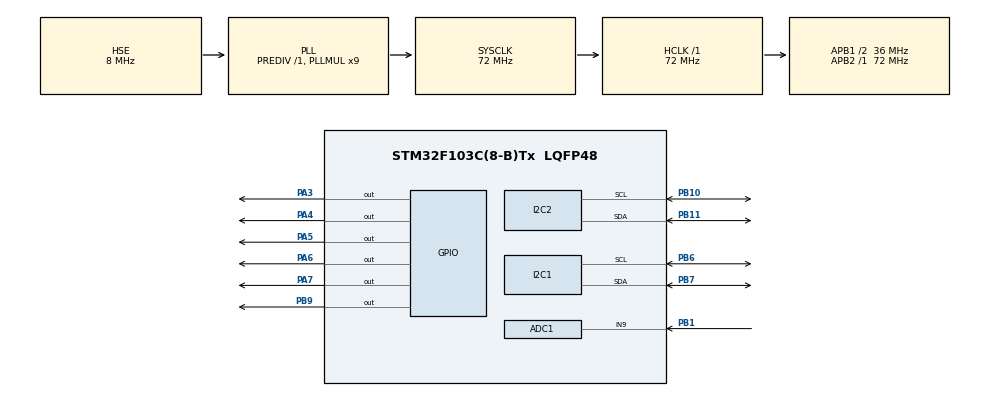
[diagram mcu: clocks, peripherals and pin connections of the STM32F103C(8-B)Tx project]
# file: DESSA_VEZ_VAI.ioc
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ADC1.Channel-0\#ChannelRegularConversion=ADC_CHANNEL_9
ADC1.ContinuousConvMode=ENABLE
ADC1.NbrOfConversionFlag=1
ADC1.Rank-0\#ChannelRegularConversion=1
ADC1.SamplingTime-0\#ChannelRegularConversion=ADC_SAMPLETIME_1CYCLE_5
ADC1.master=1
ADC2.Channel-0\#ChannelRegularConversion=ADC_CHANNEL_9
ADC2.ContinuousConvMode=ENABLE
ADC2.NbrOfConversionFlag=1
ADC2.Rank-0\#ChannelRegularConversion=1
ADC2.SamplingTime-0\#ChannelRegularConversion=ADC_SAMPLETIME_1CYCLE_5
I2C2.I2C_Mode=I2C_Standard
Mcu.Family=STM32F1
Mcu.Name=STM32F103C(8-B)Tx
Mcu.Package=LQFP48
NVIC.PriorityGroup=NVIC_PRIORITYGROUP_4
PA3.Signal=GPIO_Output
PA4.Signal=GPIO_Output
PA5.Signal=GPIO_Output
PA6.Signal=GPIO_Output
PA7.Signal=GPIO_Output
PB1.Signal=ADCx_IN9
PB10.Mode=I2C
PB10.Signal=I2C2_SCL
PB11.Mode=I2C
PB11.Signal=I2C2_SDA
PB6.Mode=I2C
PB6.Signal=I2C1_SCL
PB7.Mode=I2C
PB7.Signal=I2C1_SDA
PB9.Signal=GPIO_Output
PD0-OSC_IN.Mode=HSE-External-Oscillator
PD0-OSC_IN.Signal=RCC_OSC_IN
PD1-OSC_OUT.Mode=HSE-External-Oscillator
PD1-OSC_OUT.Signal=RCC_OSC_OUT
ProjectManager.HeapSize=0x200
ProjectManager.StackSize=0x400
ProjectManager.TargetToolchain=STM32CubeIDE
RCC.ADCPresc=RCC_ADCPCLK2_DIV6
RCC.AHBFreq_Value=72000000
RCC.APB1CLKDivider=RCC_HCLK_DIV2
RCC.APB1Freq_Value=36000000
RCC.APB1TimFreq_Value=72000000
RCC.APB2Freq_Value=72000000
RCC.APB2TimFreq_Value=72000000
RCC.HCLKFreq_Value=72000000
RCC.PLLMUL=RCC_PLL_MUL9
RCC.PLLSourceVirtual=RCC_PLLSOURCE_HSE
RCC.SYSCLKFreq_VALUE=72000000
RCC.SYSCLKSource=RCC_SYSCLKSOURCE_PLLCLK
RCC.USBFreq_Value=72000000
SH.ADCx_IN9.0=ADC1_IN9,IN9
SH.ADCx_IN9.1=ADC2_IN9,IN9
TIM1.Prescaler=71
VP_TIM1_VS_ClockSourceINT.Mode=Internal
board=custom

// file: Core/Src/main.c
/* USER CODE BEGIN Header */
/**
  ******************************************************************************
  * @file           : main.c
  * @brief          : Main program body
  ******************************************************************************
  * @attention
  *
  * Copyright (c) 2023 STMicroelectronics.
  * All rights reserved.
  *
  * This software is licensed under terms that can be found in the LICENSE file
  * in the root directory of this software component.
  * If no LICENSE file comes with this software, it is provided AS-IS.
  *
  ******************************************************************************
  */
/* USER CODE END Header */
#include "main.h"

/* USER CODE BEGIN Includes */
#include "MPU6050.h"
#include "nokia5110_LCD.h"
#include <stdio.h>
#include <string.h>
#include <stdlib.h>
#include "BMP180.h"

/* USER CODE END Includes */

ADC_HandleTypeDef hadc1;
ADC_HandleTypeDef hadc2;

I2C_HandleTypeDef hi2c1;
I2C_HandleTypeDef hi2c2;

TIM_HandleTypeDef htim1;

/* USER CODE BEGIN PV */
uint16_t readValue;
float sensitivity = 0.1; // 0.1 for 20A Model
float rawVoltage;
float current;

uint16_t readValue;
float voltage;
/* USER CODE END PV */

void SystemClock_Config(void);
static void MX_GPIO_Init(void);
static void MX_I2C1_Init(void);
static void MX_TIM1_Init(void);
static void MX_I2C2_Init(void);
static void MX_ADC1_Init(void);
static void MX_ADC2_Init(void);

/* USER CODE BEGIN 0 */
#define DHT11_PORT GPIOB
#define DHT11_PIN GPIO_PIN_9
uint8_t RHI, RHD, TCI, TCD, SUM;
uint32_t pMillis, cMillis;
float tCelsius = 0;
float tFahrenheit = 0;
float RH = 0;
uint8_t TFI = 0;
uint8_t TFD = 0;
char strCopy[15];

void microDelay (uint16_t delay)
{
  __HAL_TIM_SET_COUNTER(&htim1, 0);
  while (__HAL_TIM_GET_COUNTER(&htim1) < delay);
}

uint8_t DHT11_Start (void)
{
  uint8_t Response = 0;
  GPIO_InitTypeDef GPIO_InitStructPrivate = {0};
  GPIO_InitStructPrivate.Pin = DHT11_PIN;
  GPIO_InitStructPrivate.Mode = GPIO_MODE_OUTPUT_PP;
  GPIO_InitStructPrivate.Speed = GPIO_SPEED_FREQ_LOW;
  GPIO_InitStructPrivate.Pull = GPIO_NOPULL;
  HAL_GPIO_Init(DHT11_PORT, &GPIO_InitStructPrivate); // set the pin as output
  HAL_GPIO_WritePin (DHT11_PORT, DHT11_PIN, 0);   // pull the pin low
  HAL_Delay(20);   // wait for 20ms
  HAL_GPIO_WritePin (DHT11_PORT, DHT11_PIN, 1);   // pull the pin high
  microDelay (30);   // wait for 30us
  GPIO_InitStructPrivate.Mode = GPIO_MODE_INPUT;
  GPIO_InitStructPrivate.Pull = GPIO_PULLUP;
  HAL_GPIO_Init(DHT11_PORT, &GPIO_InitStructPrivate); // set the pin as input
  microDelay (40);
  if (!(HAL_GPIO_ReadPin (DHT11_PORT, DHT11_PIN)))
  {
    microDelay (80);
    if ((HAL_GPIO_ReadPin (DHT11_PORT, DHT11_PIN))) Response = 1;
  }
  pMillis = HAL_GetTick();
  cMillis = HAL_GetTick();
  while ((HAL_GPIO_ReadPin (DHT11_PORT, DHT11_PIN)) && pMillis + 2 > cMillis)
  {
    cMillis = HAL_GetTick();
  }
  return Response;
}

uint8_t DHT11_Read (void)
{
  uint8_t a,b;
  for (a=0;a<8;a++)
  {
    pMillis = HAL_GetTick();
    cMillis = HAL_GetTick();
    while (!(HAL_GPIO_ReadPin (DHT11_PORT, DHT11_PIN)) && pMillis + 2 > cMillis)
    {  // wait for the pin to go high
      cMillis = HAL_GetTick();
    }
    microDelay (40);   // wait for 40 us
    if (!(HAL_GPIO_ReadPin (DHT11_PORT, DHT11_PIN)))   // if the pin is low
      b&= ~(1<<(7-a));
    else
      b|= (1<<(7-a));
    pMillis = HAL_GetTick();
    cMillis = HAL_GetTick();
    while ((HAL_GPIO_ReadPin (DHT11_PORT, DHT11_PIN)) && pMillis + 2 > cMillis)
    {  // wait for the pin to go low
      cMillis = HAL_GetTick();
    }
  }
  return b;
}
float Pressure = 0;
float Altitude = 0;

char Pressure1[10];
char Altitude1[10];
/* USER CODE END 0 */

int main(void)
{

  /* MCU Configuration--------------------------------------------------------*/

  /* Reset of all peripherals, Initializes the Flash interface and the Systick. */
  HAL_Init();

  /* Configure the system clock */
  SystemClock_Config();

  /* Initialize all configured peripherals */
  MX_GPIO_Init();
  MX_I2C1_Init();
  MX_TIM1_Init();
  MX_I2C2_Init();
  MX_ADC1_Init();
  MX_ADC2_Init();
  /* USER CODE BEGIN 2 */
  HAL_TIM_Base_Start(&htim1);
  LCD_setRST(GPIOA, GPIO_PIN_3);
  LCD_setCE(GPIOA, GPIO_PIN_4);
  LCD_setDC(GPIOA, GPIO_PIN_5);
  LCD_setDIN(GPIOA, GPIO_PIN_6);
  LCD_setCLK(GPIOA, GPIO_PIN_7);
  LCD_init();
  MPU6050_init();
  BMP180_Start();
  HAL_ADC_Start(&hadc1);
  HAL_ADC_Start(&hadc2);
  /* USER CODE END 2 */

  /* Infinite loop */
  /* USER CODE BEGIN WHILE */
  while (1)
  {
	  MPU6050_Read_Accel();
	  HAL_Delay(2000);
	  LCD_clrScr();

	  MPU6050_Read_Gyro();
	  HAL_Delay(2000);
	  LCD_clrScr();

	  if(DHT11_Start()){
		RHI = DHT11_Read(); // Relative humidity integral
		RHD = DHT11_Read(); // Relative humidity decimal
		TCI = DHT11_Read(); // Celsius integral
		TCD = DHT11_Read(); // Celsius decimal
		SUM = DHT11_Read(); // Check sum
		if (RHI + RHD + TCI + TCD == SUM){
		  // Can use RHI and TCI for any purposes if whole number only needed
		  tCelsius = (float)TCI + (float)(TCD/10.0);
		  tFahrenheit = tCelsius * 9/5 + 32;
		  RH = (float)RHI + (float)(RHD/10.0);
		  // Can use tCelsius, tFahrenheit and RH for any purposes
		  TFI = tFahrenheit;  // Fahrenheit integral
		  TFD = tFahrenheit*10-TFI*10; // Fahrenheit decimal
		  LCD_print("Temperatura:", 1,1);
		  char buf[6];
		  sprintf(buf, "%.2f C", tCelsius);
		  LCD_print(buf,1,2);
		  LCD_print("Umidade:", 1,3);
		  char hum[6];
		  sprintf(hum, "%.2f", RH);
		  LCD_print(hum,1,4);
			}
	  }
	  HAL_Delay(2000);
	  LCD_clrScr();

	  LCD_print("Pressao:", 1,1);
	  Pressure = BMP180_GetPress (3);
	  sprintf(Pressure1, "%.2f Pa", Pressure);
	  LCD_print(Pressure1,1,2);

	  LCD_print("Altitude:", 1,3);
	  Altitude = BMP180_GetAlt(3);
	  sprintf(Altitude1, "%.2f m", Altitude);
	  LCD_print(Altitude1,1,4);
	  HAL_Delay(2000);
	  LCD_clrScr();

	  HAL_ADC_PollForConversion(&hadc1,1000);
	  readValue = HAL_ADC_GetValue(&hadc1);
	  rawVoltage = (float) readValue * 3.3 * 2 / 4095;
	  current =(rawVoltage - 2.5)/sensitivity;
	  char corrente[6];
	  LCD_print("Corrente:", 1,1);
	  sprintf(corrente, "%.2f mA", current);
	  LCD_print(corrente,1,2);

	  char tensao[6];
	  LCD_print("Tensao:", 1,3);
	  sprintf(tensao, "%.2f V", rawVoltage);
	  LCD_print(tensao,1,4);
	  HAL_Delay (2000);
	  LCD_clrScr();

    /* USER CODE END WHILE */

  }
}

void SystemClock_Config(void)
{
  RCC_OscInitTypeDef RCC_OscInitStruct = {0};
  RCC_ClkInitTypeDef RCC_ClkInitStruct = {0};
  RCC_PeriphCLKInitTypeDef PeriphClkInit = {0};

  /** Initializes the RCC Oscillators according to the specified parameters
  * in the RCC_OscInitTypeDef structure.
  */
  RCC_OscInitStruct.OscillatorType = RCC_OSCILLATORTYPE_HSE;
  RCC_OscInitStruct.HSEState = RCC_HSE_ON;
  RCC_OscInitStruct.HSEPredivValue = RCC_HSE_PREDIV_DIV1;
  RCC_OscInitStruct.HSIState = RCC_HSI_ON;
  RCC_OscInitStruct.PLL.PLLState = RCC_PLL_ON;
  RCC_OscInitStruct.PLL.PLLSource = RCC_PLLSOURCE_HSE;
  RCC_OscInitStruct.PLL.PLLMUL = RCC_PLL_MUL9;
  if (HAL_RCC_OscConfig(&RCC_OscInitStruct) != HAL_OK)
  {
    Error_Handler();
  }

  /** Initializes the CPU, AHB and APB buses clocks
  */
  RCC_ClkInitStruct.ClockType = RCC_CLOCKTYPE_HCLK|RCC_CLOCKTYPE_SYSCLK
                              |RCC_CLOCKTYPE_PCLK1|RCC_CLOCKTYPE_PCLK2;
  RCC_ClkInitStruct.SYSCLKSource = RCC_SYSCLKSOURCE_PLLCLK;
  RCC_ClkInitStruct.AHBCLKDivider = RCC_SYSCLK_DIV1;
  RCC_ClkInitStruct.APB1CLKDivider = RCC_HCLK_DIV2;
  RCC_ClkInitStruct.APB2CLKDivider = RCC_HCLK_DIV1;

  if (HAL_RCC_ClockConfig(&RCC_ClkInitStruct, FLASH_LATENCY_2) != HAL_OK)
  {
    Error_Handler();
  }
  PeriphClkInit.PeriphClockSelection = RCC_PERIPHCLK_ADC;
  PeriphClkInit.AdcClockSelection = RCC_ADCPCLK2_DIV6;
  if (HAL_RCCEx_PeriphCLKConfig(&PeriphClkInit) != HAL_OK)
  {
    Error_Handler();
  }
}

static void MX_ADC1_Init(void)
{

  ADC_ChannelConfTypeDef sConfig = {0};

  /** Common config
  */
  hadc1.Instance = ADC1;
  hadc1.Init.ScanConvMode = ADC_SCAN_DISABLE;
  hadc1.Init.ContinuousConvMode = ENABLE;
  hadc1.Init.DiscontinuousConvMode = DISABLE;
  hadc1.Init.ExternalTrigConv = ADC_SOFTWARE_START;
  hadc1.Init.DataAlign = ADC_DATAALIGN_RIGHT;
  hadc1.Init.NbrOfConversion = 1;
  if (HAL_ADC_Init(&hadc1) != HAL_OK)
  {
    Error_Handler();
  }

  /** Configure Regular Channel
  */
  sConfig.Channel = ADC_CHANNEL_9;
  sConfig.Rank = ADC_REGULAR_RANK_1;
  sConfig.SamplingTime = ADC_SAMPLETIME_1CYCLE_5;
  if (HAL_ADC_ConfigChannel(&hadc1, &sConfig) != HAL_OK)
  {
    Error_Handler();
  }

}

static void MX_ADC2_Init(void)
{

  ADC_ChannelConfTypeDef sConfig = {0};

  /** Common config
  */
  hadc2.Instance = ADC2;
  hadc2.Init.ScanConvMode = ADC_SCAN_DISABLE;
  hadc2.Init.ContinuousConvMode = ENABLE;
  hadc2.Init.DiscontinuousConvMode = DISABLE;
  hadc2.Init.ExternalTrigConv = ADC_SOFTWARE_START;
  hadc2.Init.DataAlign = ADC_DATAALIGN_RIGHT;
  hadc2.Init.NbrOfConversion = 1;
  if (HAL_ADC_Init(&hadc2) != HAL_OK)
  {
    Error_Handler();
  }

  /** Configure Regular Channel
  */
  sConfig.Channel = ADC_CHANNEL_9;
  sConfig.Rank = ADC_REGULAR_RANK_1;
  sConfig.SamplingTime = ADC_SAMPLETIME_1CYCLE_5;
  if (HAL_ADC_ConfigChannel(&hadc2, &sConfig) != HAL_OK)
  {
    Error_Handler();
  }

}

static void MX_I2C1_Init(void)
{

  hi2c1.Instance = I2C1;
  hi2c1.Init.ClockSpeed = 100000;
  hi2c1.Init.DutyCycle = I2C_DUTYCYCLE_2;
  hi2c1.Init.OwnAddress1 = 0;
  hi2c1.Init.AddressingMode = I2C_ADDRESSINGMODE_7BIT;
  hi2c1.Init.DualAddressMode = I2C_DUALADDRESS_DISABLE;
  hi2c1.Init.OwnAddress2 = 0;
  hi2c1.Init.GeneralCallMode = I2C_GENERALCALL_DISABLE;
  hi2c1.Init.NoStretchMode = I2C_NOSTRETCH_DISABLE;
  if (HAL_I2C_Init(&hi2c1) != HAL_OK)
  {
    Error_Handler();
  }

}

static void MX_I2C2_Init(void)
{

  hi2c2.Instance = I2C2;
  hi2c2.Init.ClockSpeed = 100000;
  hi2c2.Init.DutyCycle = I2C_DUTYCYCLE_2;
  hi2c2.Init.OwnAddress1 = 0;
  hi2c2.Init.AddressingMode = I2C_ADDRESSINGMODE_7BIT;
  hi2c2.Init.DualAddressMode = I2C_DUALADDRESS_DISABLE;
  hi2c2.Init.OwnAddress2 = 0;
  hi2c2.Init.GeneralCallMode = I2C_GENERALCALL_DISABLE;
  hi2c2.Init.NoStretchMode = I2C_NOSTRETCH_DISABLE;
  if (HAL_I2C_Init(&hi2c2) != HAL_OK)
  {
    Error_Handler();
  }

}

static void MX_TIM1_Init(void)
{

  TIM_ClockConfigTypeDef sClockSourceConfig = {0};
  TIM_MasterConfigTypeDef sMasterConfig = {0};

  htim1.Instance = TIM1;
  htim1.Init.Prescaler = 71;
  htim1.Init.CounterMode = TIM_COUNTERMODE_UP;
  htim1.Init.Period = 65535;
  htim1.Init.ClockDivision = TIM_CLOCKDIVISION_DIV1;
  htim1.Init.RepetitionCounter = 0;
  htim1.Init.AutoReloadPreload = TIM_AUTORELOAD_PRELOAD_DISABLE;
  if (HAL_TIM_Base_Init(&htim1) != HAL_OK)
  {
    Error_Handler();
  }
  sClockSourceConfig.ClockSource = TIM_CLOCKSOURCE_INTERNAL;
  if (HAL_TIM_ConfigClockSource(&htim1, &sClockSourceConfig) != HAL_OK)
  {
    Error_Handler();
  }
  sMasterConfig.MasterOutputTrigger = TIM_TRGO_RESET;
  sMasterConfig.MasterSlaveMode = TIM_MASTERSLAVEMODE_DISABLE;
  if (HAL_TIMEx_MasterConfigSynchronization(&htim1, &sMasterConfig) != HAL_OK)
  {
    Error_Handler();
  }

}

static void MX_GPIO_Init(void)
{
  GPIO_InitTypeDef GPIO_InitStruct = {0};

  /* GPIO Ports Clock Enable */
  __HAL_RCC_GPIOD_CLK_ENABLE();
  __HAL_RCC_GPIOA_CLK_ENABLE();
  __HAL_RCC_GPIOB_CLK_ENABLE();

  /*Configure GPIO pin Output Level */
  HAL_GPIO_WritePin(GPIOA, GPIO_PIN_3|GPIO_PIN_4|GPIO_PIN_5|GPIO_PIN_6
                          |GPIO_PIN_7, GPIO_PIN_RESET);

  /*Configure GPIO pin Output Level */
  HAL_GPIO_WritePin(GPIOB, GPIO_PIN_9, GPIO_PIN_RESET);

  /*Configure GPIO pins : PA3 PA4 PA5 PA6
                           PA7 */
  GPIO_InitStruct.Pin = GPIO_PIN_3|GPIO_PIN_4|GPIO_PIN_5|GPIO_PIN_6
                          |GPIO_PIN_7;
  GPIO_InitStruct.Mode = GPIO_MODE_OUTPUT_PP;
  GPIO_InitStruct.Pull = GPIO_NOPULL;
  GPIO_InitStruct.Speed = GPIO_SPEED_FREQ_LOW;
  HAL_GPIO_Init(GPIOA, &GPIO_InitStruct);

  /*Configure GPIO pin : PB9 */
  GPIO_InitStruct.Pin = GPIO_PIN_9;
  GPIO_InitStruct.Mode = GPIO_MODE_OUTPUT_PP;
  GPIO_InitStruct.Pull = GPIO_NOPULL;
  GPIO_InitStruct.Speed = GPIO_SPEED_FREQ_LOW;
  HAL_GPIO_Init(GPIOB, &GPIO_InitStruct);

}

void Error_Handler(void)
{
  __disable_irq();
  while (1)
  {
  }
}
